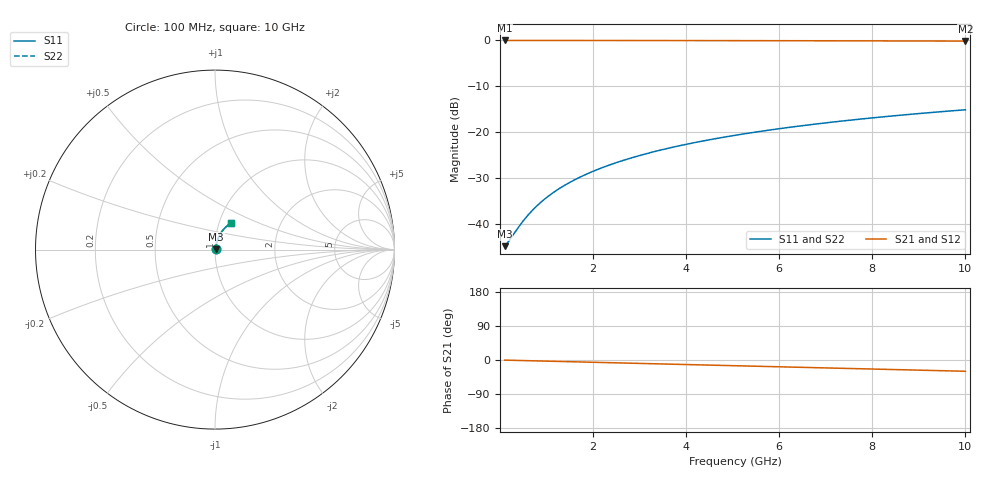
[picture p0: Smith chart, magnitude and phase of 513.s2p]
# Hz S RI R 50.00
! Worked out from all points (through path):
!   100 points, 100 MHz to 10 GHz, reference 50 ohm
!   highest |S21| = -0.05 dB at 100 MHz (marker M1); lowest = -0.2 dB at 10 GHz (marker M2)
!   group delay of S21, straight-line fit = 8.26 ps
!   lowest |S11| = -44.9 dB at 100 MHz (marker M3), VSWR 1.01, Z = 50.5 + j0.183 ohm
!   |S11| at or under -10 dB: start of sweep to end of sweep
!   |S22| runs from -44.9 to -15.2 dB; largest |S21 - S12| = 0
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1e8  0.00537 0.00181  0.9946 -0.0052  0.9946 -0.0052  0.00537 0.00181
2e8  0.00543 0.00362  0.9945 -0.0104  0.9945 -0.0104  0.00543 0.00362
4e8  0.00559 0.00724  0.9943 -0.0208  0.9943 -0.0208  0.00559 0.00724
5e8  0.00569 0.00905  0.9942 -0.026  0.9942 -0.026  0.00569 0.00905
6e8  0.00581 0.0109  0.994 -0.0312  0.994 -0.0312  0.00581 0.0109
7e8  0.00594 0.0127  0.9938 -0.0364  0.9938 -0.0364  0.00594 0.0127
9e8  0.00627 0.0163  0.9932 -0.0468  0.9932 -0.0468  0.00627 0.0163
1.1e9  0.00667 0.0199  0.9926 -0.0571  0.9926 -0.0571  0.00667 0.0199
1.3e9  0.00714 0.0235  0.9918 -0.0675  0.9918 -0.0675  0.00714 0.0235
1.5e9  0.00769 0.027  0.991 -0.0779  0.991 -0.0779  0.00769 0.027
1.8e9  0.00864 0.0324  0.9894 -0.0934  0.9894 -0.0934  0.00864 0.0324
2.1e9  0.00976 0.0377  0.9876 -0.1088  0.9876 -0.1088  0.00976 0.0377
2.5e9  0.0115 0.0447  0.9848 -0.1294  0.9848 -0.1294  0.0115 0.0447
2.9e9  0.0136 0.0516  0.9815 -0.1499  0.9815 -0.1499  0.0136 0.0516
3.4e9  0.0165 0.0602  0.9767 -0.1753  0.9767 -0.1753  0.0165 0.0602
4.2e9  0.0221 0.0734  0.9676 -0.2156  0.9676 -0.2156  0.0221 0.0734
5.1e9  0.0297 0.0877  0.9551 -0.2603  0.9551 -0.2603  0.0297 0.0877
5.9e9  0.0376 0.0998  0.9421 -0.2993  0.9421 -0.2993  0.0376 0.0998
6.7e9  0.0464 0.1111  0.9274 -0.3375  0.9274 -0.3375  0.0464 0.1111
7.5e9  0.0561 0.1216  0.911 -0.3749  0.911 -0.3749  0.0561 0.1216
8.4e9  0.0679 0.1323  0.8907 -0.4158  0.8907 -0.4158  0.0679 0.1323
1e10  0.0911 0.1485  0.85 -0.4853  0.85 -0.4853  0.0911 0.1485
